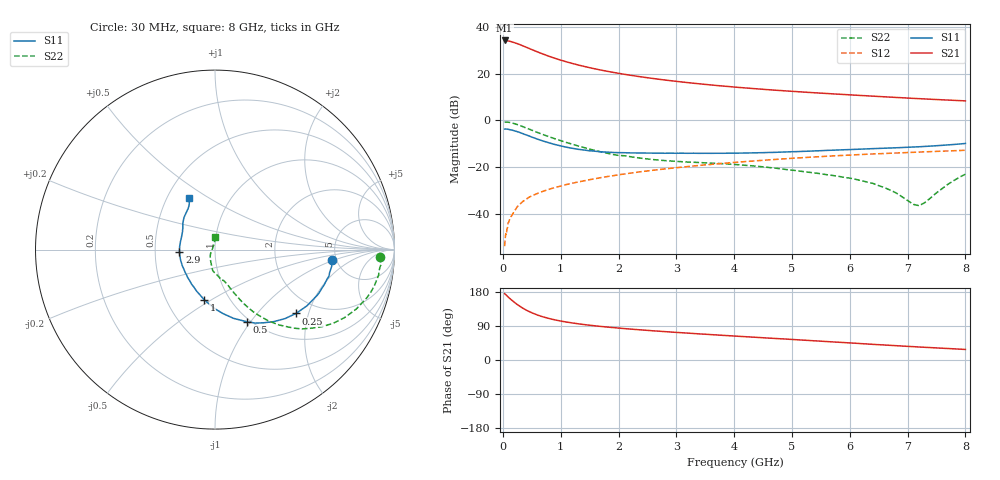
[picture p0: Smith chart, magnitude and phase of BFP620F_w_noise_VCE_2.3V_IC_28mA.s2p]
! Infineon Technologies  Discrete & RF Semiconductors
! BFP620F
! VCE =  2.3 V,  IC =  28 mA
! Common Emitter S-Parameters:  Dec 2014
# GHz  S  MA  R  50
!  f  S11  S21  S12  S22
! GHz  MAG  ANG  MAG  ANG  MAG  ANG  MAG  ANG
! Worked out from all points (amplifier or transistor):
!   95 points, 30 MHz to 8 GHz, reference 50 ohm
!   highest |S21| = 34.4 dB at 30 MHz (marker M1)
!   |S21| within 3 dB of that: start of sweep to 413.1 MHz
!   unconditionally stable (mu >= 1): 2.444 GHz to end of sweep
!   at 300 MHz: K = 0.42, MSG = 34.2 dB, |S12| = -35.8 dB
!   at 3.3 GHz: K = 1.03, MAG = 16.8 dB, |S12| = -19.5 dB
!   at 8 GHz: K = 1.06, MAG = 9.1 dB, |S12| = -12.8 dB
!   lowest NFmin = 1.08 dB at 450 MHz
!   S11 on the Smith chart (normalised r, x): 30 MHz: 4.59, -0.89; 250 MHz: 1.56, -1.66; 500 MHz: 0.96, -0.96; 1 GHz: 0.76, -0.46; 2.9 GHz: 0.67, -0.02; 8 GHz: 0.65, +0.41
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0.03  0.6533 -4.9  52.22 175.2  0.002 54.0  0.921 -2.5
0.08  0.652 -13.0  51.38 167.9  0.005 73.5  0.9226 -8.9
0.13  0.631 -21.1  49.8 161.0  0.0082 68.9  0.901 -15.0
0.2  0.6003 -31.5  46.87 152.2  0.0113 72.2  0.8542 -22.8
0.25  0.5744 -38.3  44.6 146.3  0.0141 69.4  0.8161 -27.6
0.3  0.5475 -44.6  42.24 141.1  0.0162 69.6  0.7754 -32.0
0.35  0.5184 -50.7  39.8 136.3  0.0184 67.9  0.7331 -35.9
0.4  0.49 -56.3  37.56 132.0  0.0202 66.9  0.6915 -39.3
0.5  0.4404 -66.0  33.29 124.7  0.024 65.8  0.6186 -45.0
0.6  0.3967 -74.9  29.6 118.6  0.0272 65.3  0.5516 -49.6
0.7  0.3604 -82.6  26.51 113.6  0.0304 64.7  0.4955 -53.2
0.8  0.3307 -89.8  23.86 109.5  0.0333 64.7  0.4465 -56.0
1  0.2848 -102.5  19.76 102.8  0.039 64.5  0.369 -60.4
1.4  0.2324 -124.2  14.52 93.6  0.0505 64.3  0.2629 -66.3
2  0.2037 -150.5  10.3 84.3  0.0681 62.9  0.1777 -74.6
2.7  0.1989 -171.8  7.67 76.0  0.0883 60.2  0.1408 -85.6
2.9  0.1982 -176.6  7.148 73.9  0.0938 59.3  0.1348 -88.2
4.1  0.1992 159.7  5.102 62.3  0.1283 53.2  0.1117 -97.5
5.4  0.2221 143.7  3.928 50.5  0.1649 45.3  0.0746 -107.9
6.7  0.2564 130.0  3.172 38.7  0.1977 36.5  0.0319 -139.0
7.2  0.2727 123.4  2.938 34.3  0.2094 33.4  0.0148 153.2
8  0.3204 116.5  2.635 27.8  0.229 28.1  0.0702 88.1
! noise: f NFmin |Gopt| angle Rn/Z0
0.45  1.08  0.03  -173  0.19
0.9  1.11  0.04  -171  0.15
1.5  1.12  0.08  -149  0.15
1.8  1.14  0.08  -147  0.17
1.9  1.14  0.08  -146  0.15
2.4  1.16  0.09  -146  0.17
3.5  1.23  0.12  -142  0.17
5.5  1.38  0.2  239  0.13
6  1.42  0.2  259  0.15
